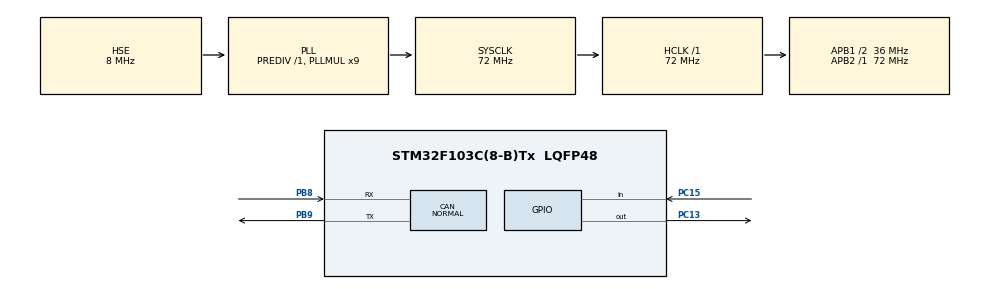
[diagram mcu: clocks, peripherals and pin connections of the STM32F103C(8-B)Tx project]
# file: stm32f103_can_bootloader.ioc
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CAN.BS1=CAN_BS1_15TQ
CAN.BS2=CAN_BS2_2TQ
CAN.CalculateTimeBit=8000
CAN.CalculateTimeQuantum=444.44444444444446
CAN.Mode=CAN_MODE_NORMAL
Mcu.Family=STM32F1
Mcu.Name=STM32F103C(8-B)Tx
Mcu.Package=LQFP48
NVIC.CAN1_RX1_IRQn=true\:0\:0\:false\:false\:true\:true\:true
NVIC.PriorityGroup=NVIC_PRIORITYGROUP_4
NVIC.USB_LP_CAN1_RX0_IRQn=true\:0\:0\:false\:false\:true\:true\:true
PA13.Mode=Serial_Wire
PA13.Signal=SYS_JTMS-SWDIO
PA14.Mode=Serial_Wire
PA14.Signal=SYS_JTCK-SWCLK
PB8.Mode=Master
PB8.Signal=CAN_RX
PB9.Mode=Master
PB9.Signal=CAN_TX
PC13-TAMPER-RTC.Signal=GPIO_Output
PC15-OSC32_OUT.Signal=GPIO_Input
PD0-OSC_IN.Mode=HSE-External-Oscillator
PD0-OSC_IN.Signal=RCC_OSC_IN
PD1-OSC_OUT.Mode=HSE-External-Oscillator
PD1-OSC_OUT.Signal=RCC_OSC_OUT
ProjectManager.HeapSize=0x200
ProjectManager.StackSize=0x400
ProjectManager.TargetToolchain=STM32CubeIDE
RCC.AHBFreq_Value=72000000
RCC.APB1CLKDivider=RCC_HCLK_DIV2
RCC.APB1Freq_Value=36000000
RCC.APB1TimFreq_Value=72000000
RCC.APB2Freq_Value=72000000
RCC.APB2TimFreq_Value=72000000
RCC.HCLKFreq_Value=72000000
RCC.PLLMUL=RCC_PLL_MUL9
RCC.PLLSourceVirtual=RCC_PLLSOURCE_HSE
RCC.SYSCLKFreq_VALUE=72000000
RCC.SYSCLKSource=RCC_SYSCLKSOURCE_PLLCLK
RCC.USBFreq_Value=72000000
board=custom

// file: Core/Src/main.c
/* USER CODE BEGIN Header */
/**
 ******************************************************************************
 * @file           : main.c
 * @brief          : Main program body
 ******************************************************************************
 * @attention
 *
 * <h2><center>&copy; Copyright (c) 2024 STMicroelectronics.
 * All rights reserved.</center></h2>
 *
 * This software component is licensed by ST under BSD 3-Clause license,
 * the "License"; You may not use this file except in compliance with the
 * License. You may obtain a copy of the License at:
 *                        opensource.org/licenses/BSD-3-Clause
 *
 ******************************************************************************
 */
/* USER CODE END Header */
#include "main.h"

/* USER CODE BEGIN Includes */
#include "string.h"
/* USER CODE END Includes */

CAN_HandleTypeDef hcan;

void SystemClock_Config(void);
static void MX_GPIO_Init(void);
static void MX_CAN_Init(void);
/* USER CODE BEGIN PFP */

#define program_adress 0x08001c00

CAN_TxHeaderTypeDef TxHeader;
CAN_RxHeaderTypeDef RxHeader;

uint32_t Txmailbox;
uint8_t Rxdata[8];

/* USER CODE END PFP */

/* USER CODE BEGIN 0 */
uint8_t flag;

void HAL_CAN_RxFifo1MsgPendingCallback(CAN_HandleTypeDef *hcan)
{
	HAL_CAN_GetRxMessage(hcan, CAN_RX_FIFO1, &RxHeader, Rxdata);
	flag=1;
}

void can_tx(uint32_t ID , uint8_t DLC , uint8_t *payload)
{

	TxHeader.DLC = DLC;
	TxHeader.ExtId = CAN_ID_STD ;
	TxHeader.RTR = CAN_RTR_DATA ;
	TxHeader.StdId = ID ;

	if(HAL_CAN_GetTxMailboxesFreeLevel(&hcan))
	{
		HAL_CAN_AddTxMessage(&hcan, &TxHeader, payload, &Txmailbox);
	}

	while(HAL_CAN_IsTxMessagePending(&hcan, Txmailbox));

}

uint32_t Flash_Write_Data (uint32_t StartPageAddress, uint32_t *Data, uint16_t numberofwords)
{

	static FLASH_EraseInitTypeDef EraseInitStruct;
	uint32_t PAGEError;
	int sofar=0;

	/* Unlock the Flash to enable the flash control register access *************/
	HAL_FLASH_Unlock();

	/* Erase the user Flash area*/

	/* Fill EraseInit structure*/
	EraseInitStruct.TypeErase   = FLASH_TYPEERASE_PAGES;
	EraseInitStruct.PageAddress = StartPageAddress;
	EraseInitStruct.NbPages     = (numberofwords/FLASH_PAGE_SIZE) +1;

	if (HAL_FLASHEx_Erase(&EraseInitStruct, &PAGEError) != HAL_OK)
	{
		/*Error occurred while page erase.*/
		return HAL_FLASH_GetError ();
	}

	/* Program the user Flash area word by word*/

	while (sofar<numberofwords)
	{
		if (HAL_FLASH_Program(FLASH_TYPEPROGRAM_WORD, StartPageAddress, Data[sofar]) == HAL_OK)
		{
			StartPageAddress += 4;  // use StartPageAddress += 2 for half word and 8 for double word
			sofar++;
		}
		else
		{
			/* Error occurred while writing data in Flash memory*/
			return HAL_FLASH_GetError ();
		}
	}

	/* Lock the Flash to disable the flash control register access (recommended
	      to protect the FLASH memory against possible unwanted operation) *********/
	HAL_FLASH_Lock();

	return 0;
}

unsigned char ascii_to_hex(char c) {
	if (c >= '0' && c <= '9')
		return c - '0';
	else if (c >= 'a' && c <= 'f')
		return c - 'a' + 10;
	else if (c >= 'A' && c <= 'F')
		return c - 'A' + 10;
	else
		return 0; // Handle error case here
}

uint32_t pointer_counter;
uint8_t counter;
uint8_t prog[1024];
uint8_t done = 1;
uint32_t offset;
uint8_t temp[4];
uint8_t high;
uint8_t low;
void receive_program(){

	if(flag)
	{
		//i want to transform the rxdata array from asci type to hex before
		for (int i = 0; i < 8; i+=2) {
			high = ascii_to_hex(Rxdata[i]);
			low = ascii_to_hex(Rxdata[i+1]);
			temp[i/2] = (high << 4) | low;
		}
		memcpy(prog+pointer_counter,temp,RxHeader.DLC/2);
		pointer_counter+=RxHeader.DLC/2;
		if(pointer_counter > 1020)
		{
			//clear page and write new program here
			Flash_Write_Data(program_adress+offset,(uint32_t *) prog, 256);
			memset(prog, 0xf, sizeof(prog));
			offset += FLASH_PAGE_SIZE;
			pointer_counter = 0;
		}
		flag=0;
		can_tx(113, 1, &done);
	}

}

/* USER CODE END 0 */

int main(void)
{

  /* MCU Configuration--------------------------------------------------------*/

  /* Reset of all peripherals, Initializes the Flash interface and the Systick. */
  HAL_Init();

  /* Configure the system clock */
  SystemClock_Config();

  /* Initialize all configured peripherals */
  MX_GPIO_Init();
  MX_CAN_Init();
  /* USER CODE BEGIN 2 */

	HAL_CAN_Start(&hcan);

	HAL_CAN_ActivateNotification(&hcan, CAN_IT_RX_FIFO1_MSG_PENDING);

	//	can_tx(0x3FF, 2, Txdata);

  /* USER CODE END 2 */

  /* Infinite loop */
  /* USER CODE BEGIN WHILE */
	while (1)
	{

		if(RxHeader.DLC == 1 && Rxdata[0]=='1')
		{
			Flash_Write_Data(program_adress+offset,(uint32_t *) prog, 256);
			HAL_DeInit();
			__set_MSP(	( *(volatile uint32_t*) program_adress )	);
			void (*app_reset_handler) (void)= (void*) ( *(volatile uint32_t*) (program_adress+4U) );
			app_reset_handler();
		}
		if(HAL_GPIO_ReadPin(GPIOC, GPIO_PIN_15))
		{
			HAL_GPIO_WritePin(GPIOC, GPIO_PIN_13, 1);
			__set_MSP(	( *(volatile uint32_t*) program_adress )	);
			void (*app_reset_handler) (void)= (void*) ( *(volatile uint32_t*) (program_adress+4U) );
			app_reset_handler();
		}
		receive_program();

    /* USER CODE END WHILE */

	}
}

void SystemClock_Config(void)
{
  RCC_OscInitTypeDef RCC_OscInitStruct = {0};
  RCC_ClkInitTypeDef RCC_ClkInitStruct = {0};

  /** Initializes the RCC Oscillators according to the specified parameters
  * in the RCC_OscInitTypeDef structure.
  */
  RCC_OscInitStruct.OscillatorType = RCC_OSCILLATORTYPE_HSE;
  RCC_OscInitStruct.HSEState = RCC_HSE_ON;
  RCC_OscInitStruct.HSEPredivValue = RCC_HSE_PREDIV_DIV1;
  RCC_OscInitStruct.HSIState = RCC_HSI_ON;
  RCC_OscInitStruct.PLL.PLLState = RCC_PLL_ON;
  RCC_OscInitStruct.PLL.PLLSource = RCC_PLLSOURCE_HSE;
  RCC_OscInitStruct.PLL.PLLMUL = RCC_PLL_MUL9;
  if (HAL_RCC_OscConfig(&RCC_OscInitStruct) != HAL_OK)
  {
    Error_Handler();
  }
  /** Initializes the CPU, AHB and APB buses clocks
  */
  RCC_ClkInitStruct.ClockType = RCC_CLOCKTYPE_HCLK|RCC_CLOCKTYPE_SYSCLK
                              |RCC_CLOCKTYPE_PCLK1|RCC_CLOCKTYPE_PCLK2;
  RCC_ClkInitStruct.SYSCLKSource = RCC_SYSCLKSOURCE_PLLCLK;
  RCC_ClkInitStruct.AHBCLKDivider = RCC_SYSCLK_DIV1;
  RCC_ClkInitStruct.APB1CLKDivider = RCC_HCLK_DIV2;
  RCC_ClkInitStruct.APB2CLKDivider = RCC_HCLK_DIV1;

  if (HAL_RCC_ClockConfig(&RCC_ClkInitStruct, FLASH_LATENCY_2) != HAL_OK)
  {
    Error_Handler();
  }
}

static void MX_CAN_Init(void)
{

  hcan.Instance = CAN1;
  hcan.Init.Prescaler = 16;
  hcan.Init.Mode = CAN_MODE_NORMAL;
  hcan.Init.SyncJumpWidth = CAN_SJW_1TQ;
  hcan.Init.TimeSeg1 = CAN_BS1_15TQ;
  hcan.Init.TimeSeg2 = CAN_BS2_2TQ;
  hcan.Init.TimeTriggeredMode = DISABLE;
  hcan.Init.AutoBusOff = DISABLE;
  hcan.Init.AutoWakeUp = DISABLE;
  hcan.Init.AutoRetransmission = DISABLE;
  hcan.Init.ReceiveFifoLocked = DISABLE;
  hcan.Init.TransmitFifoPriority = DISABLE;
  if (HAL_CAN_Init(&hcan) != HAL_OK)
  {
    Error_Handler();
  }
  /* USER CODE BEGIN CAN_Init 2 */

	CAN_FilterTypeDef canfilterconfig;
	canfilterconfig.FilterActivation = CAN_FILTER_ENABLE;
	canfilterconfig.FilterBank = 10;
	canfilterconfig.FilterFIFOAssignment = CAN_RX_FIFO1;
	canfilterconfig.FilterIdHigh = 0x111<<5;
	canfilterconfig.FilterIdLow = 0x0000;
	canfilterconfig.FilterMaskIdHigh = 0x111<<5;
	canfilterconfig.FilterMaskIdLow = 0x0000;
	//	canfilterconfig.FilterMode = CAN_FILTERMODE_IDMASK;
	canfilterconfig.FilterMode = CAN_FILTERMODE_IDLIST;
	canfilterconfig.FilterScale = CAN_FILTERSCALE_32BIT;
	canfilterconfig.SlaveStartFilterBank = 10;

	HAL_CAN_ConfigFilter(&hcan, &canfilterconfig);

  /* USER CODE END CAN_Init 2 */

}

static void MX_GPIO_Init(void)
{
  GPIO_InitTypeDef GPIO_InitStruct = {0};

  /* GPIO Ports Clock Enable */
  __HAL_RCC_GPIOC_CLK_ENABLE();
  __HAL_RCC_GPIOD_CLK_ENABLE();
  __HAL_RCC_GPIOA_CLK_ENABLE();
  __HAL_RCC_GPIOB_CLK_ENABLE();

  /*Configure GPIO pin Output Level */
  HAL_GPIO_WritePin(GPIOC, GPIO_PIN_13, GPIO_PIN_RESET);

  /*Configure GPIO pin : PC13 */
  GPIO_InitStruct.Pin = GPIO_PIN_13;
  GPIO_InitStruct.Mode = GPIO_MODE_OUTPUT_PP;
  GPIO_InitStruct.Pull = GPIO_NOPULL;
  GPIO_InitStruct.Speed = GPIO_SPEED_FREQ_LOW;
  HAL_GPIO_Init(GPIOC, &GPIO_InitStruct);

  /*Configure GPIO pin : PC15 */
  GPIO_InitStruct.Pin = GPIO_PIN_15;
  GPIO_InitStruct.Mode = GPIO_MODE_INPUT;
  GPIO_InitStruct.Pull = GPIO_NOPULL;
  HAL_GPIO_Init(GPIOC, &GPIO_InitStruct);

}

void Error_Handler(void)
{
}

/************************ (C) COPYRIGHT STMicroelectronics *****END OF FILE****/
